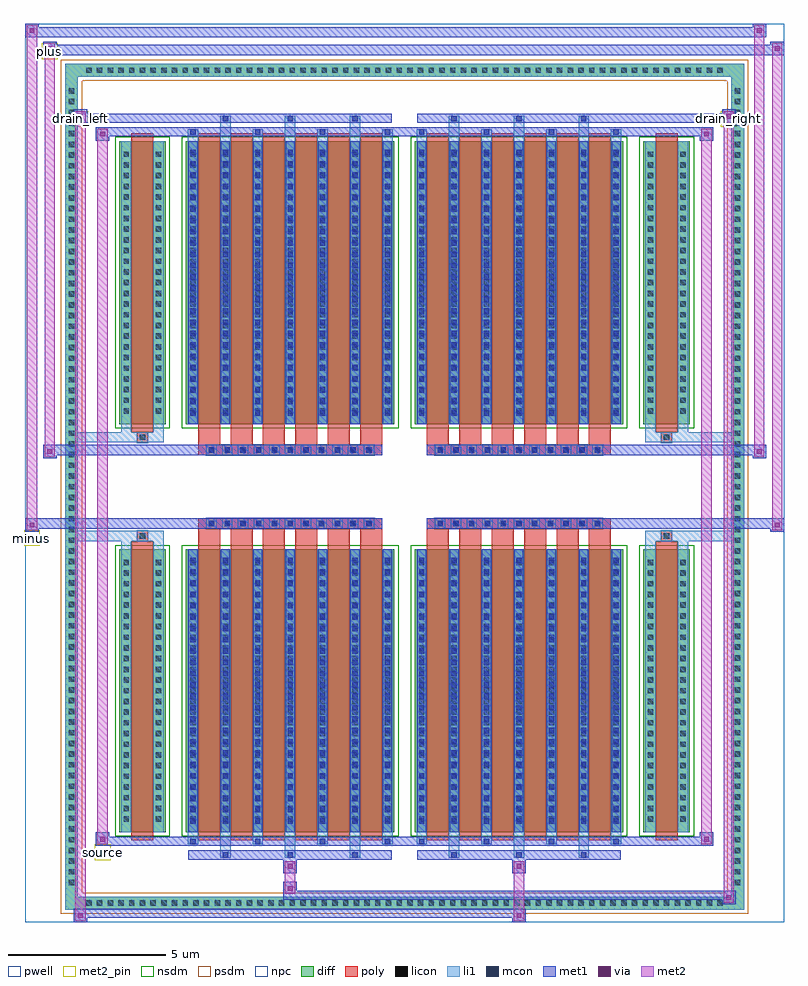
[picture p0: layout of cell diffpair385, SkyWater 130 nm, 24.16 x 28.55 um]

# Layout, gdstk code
import gdstk
lib = gdstk.Library(unit=1e-6, precision=5e-09)
def R(c, l, rs):  # rectangles x0, y0, x1, y1
    for r in rs: c.add(gdstk.rectangle(r[:2], r[2:], *l))
def A(c, l, x, y, w, h, nx, ny, dx, dy):  # array of equal rectangles
    R(c, l, [(x+i*dx, y+j*dy, x+i*dx+w, y+j*dy+h) for i in range(nx) for j in range(ny)])
def P(c, l, *ps):  # polygons
    for p in ps: c.add(gdstk.Polygon(p, *l))
pwell = (64, 44)
diff = (65, 20)
poly = (66, 20)
licon = (66, 44)
li1 = (67, 20)
mcon = (67, 44)
met1 = (68, 20)
via = (68, 44)
met2_pin = (69, 16)
met2 = (69, 20)
nsdm = (93, 44)
psdm = (94, 20)
npc = (95, 20)

diffpair385 = lib.new_cell('diffpair385')
R(diffpair385, pwell, [(-12.06,-13.84,12.06,14.71), (-9.38,-12.03,-0.01,-0.805), (0.01,-12.03,9.38,-0.805), (-9.38,0.805,-0.01,12.03), (0.01,0.805,9.38,12.03)])
A(diffpair385, diff, -10.235, -13.44, 0.41, 0.41, 60, 2, 0.34, 26.47)
A(diffpair385, diff, -10.79, -12.785, 0.41, 0.41, 1, 75, 0, 0.34)
A(diffpair385, diff, 10.38, -12.785, 0.41, 0.41, 1, 75, 0, 0.34)
R(diffpair385, diff, [(-10.235,-13.44,10.235,-13.03), (-10.79,-12.785,-10.38,12.785), (10.38,-12.785,10.79,12.785), (-9.07,-10.985,-7.59,-1.985), (-6.95,-10.985,-0.32,-1.985), (0.32,-10.985,6.95,-1.985), (7.59,-10.985,9.07,-1.985), (-9.07,1.985,-7.59,10.985), (-6.95,1.985,-0.32,10.985), (0.32,1.985,6.95,10.985), (7.59,1.985,9.07,10.985), (-10.235,13.03,10.235,13.44)])
P(diffpair385, diff, [(10.79,13.44),(-10.79,13.44),(-10.79,-13.03),(-10.38,-13.03),(-10.38,13.03),(10.38,13.03),(10.38,-13.03),(-10.38,-13.03),(-10.79,-13.03),(-10.79,-13.44),(10.79,-13.44)])
A(diffpair385, poly, -6.56, -11.235, 0.7, 9.5, 6, 2, 1.03, 12.97)
A(diffpair385, poly, 0.71, -11.235, 0.7, 9.5, 6, 2, 1.03, 12.97)
A(diffpair385, poly, -6.56, -1.735, 0.7, 0.4, 6, 2, 1.03, 3.07)
A(diffpair385, poly, 0.71, -1.735, 0.7, 0.4, 6, 2, 1.03, 3.07)
A(diffpair385, poly, -6.3, -1.335, 0.33, 0.33, 11, 2, 0.5, 2.34)
A(diffpair385, poly, 0.97, -1.335, 0.33, 0.33, 11, 2, 0.5, 2.34)
R(diffpair385, poly, [(-8.68,-11.235,-7.98,-1.735), (7.98,-11.235,8.68,-1.735), (-8.495,-1.735,-8.165,-1.405), (-8.495,-1.735,-8.165,-1.405), (8.165,-1.735,8.495,-1.405), (8.165,-1.735,8.495,-1.405), (-6.56,-1.335,-0.71,-1.005), (0.71,-1.335,6.56,-1.005), (-6.56,1.005,-0.71,1.335), (0.71,1.005,6.56,1.335), (-8.495,1.405,-8.165,1.735), (-8.495,1.405,-8.165,1.735), (8.165,1.405,8.495,1.735), (8.165,1.405,8.495,1.735), (-8.68,1.735,-7.98,11.235), (7.98,1.735,8.68,11.235)])
A(diffpair385, licon, -10.115, -13.32, 0.17, 0.17, 60, 2, 0.34, 26.47)
A(diffpair385, licon, -10.67, -12.665, 0.17, 0.17, 1, 75, 0, 0.34)
A(diffpair385, licon, 10.5, -12.665, 0.17, 0.17, 1, 75, 0, 0.34)
A(diffpair385, licon, -8.93, -10.65, 0.17, 0.17, 1, 25, 0, 0.34)
A(diffpair385, licon, -7.9, -10.65, 0.17, 0.17, 1, 25, 0, 0.34)
A(diffpair385, licon, -6.81, -10.65, 0.17, 0.17, 7, 25, 1.03, 0.34)
A(diffpair385, licon, 0.46, -10.65, 0.17, 0.17, 7, 25, 1.03, 0.34)
A(diffpair385, licon, 7.73, -10.65, 0.17, 0.17, 1, 25, 0, 0.34)
A(diffpair385, licon, 8.76, -10.65, 0.17, 0.17, 1, 25, 0, 0.34)
A(diffpair385, licon, -6.22, -1.255, 0.17, 0.17, 11, 2, 0.5, 2.34)
A(diffpair385, licon, 1.05, -1.255, 0.17, 0.17, 11, 2, 0.5, 2.34)
A(diffpair385, licon, -8.93, 2.32, 0.17, 0.17, 1, 25, 0, 0.34)
A(diffpair385, licon, -7.9, 2.32, 0.17, 0.17, 1, 25, 0, 0.34)
A(diffpair385, licon, -6.81, 2.32, 0.17, 0.17, 7, 25, 1.03, 0.34)
A(diffpair385, licon, 0.46, 2.32, 0.17, 0.17, 7, 25, 1.03, 0.34)
A(diffpair385, licon, 7.73, 2.32, 0.17, 0.17, 1, 25, 0, 0.34)
A(diffpair385, licon, 8.76, 2.32, 0.17, 0.17, 1, 25, 0, 0.34)
R(diffpair385, licon, [(-8.415,-1.655,-8.245,-1.485), (8.245,-1.655,8.415,-1.485), (-8.415,1.485,-8.245,1.655), (8.245,1.485,8.415,1.655)])
A(diffpair385, li1, -10.195, -13.4, 0.33, 0.33, 60, 2, 0.34, 26.47)
A(diffpair385, li1, -10.75, -12.745, 0.33, 0.33, 1, 75, 0, 0.34)
A(diffpair385, li1, 10.42, -12.745, 0.33, 0.33, 1, 75, 0, 0.34)
A(diffpair385, li1, -5.86, -11.79, 0.33, 0.805, 3, 2, 2.06, 22.775)
A(diffpair385, li1, -5.78, -11.79, 0.17, 0.17, 3, 2, 2.06, 23.41)
A(diffpair385, li1, 1.41, -11.79, 0.33, 0.805, 3, 2, 2.06, 22.775)
A(diffpair385, li1, 1.49, -11.79, 0.17, 0.17, 3, 2, 2.06, 23.41)
A(diffpair385, li1, -6.89, -11.36, 0.33, 0.375, 4, 2, 2.06, 22.345)
A(diffpair385, li1, -6.81, -11.36, 0.17, 0.17, 4, 2, 2.06, 22.55)
A(diffpair385, li1, 0.38, -11.36, 0.33, 0.375, 4, 2, 2.06, 22.345)
A(diffpair385, li1, 0.46, -11.36, 0.17, 0.17, 4, 2, 2.06, 22.55)
A(diffpair385, li1, -6.89, -10.985, 0.33, 9, 7, 2, 1.03, 12.97)
A(diffpair385, li1, 0.38, -10.985, 0.33, 9, 7, 2, 1.03, 12.97)
A(diffpair385, li1, -9.01, -10.73, 0.33, 0.33, 1, 25, 0, 0.34)
A(diffpair385, li1, -7.98, -10.73, 0.33, 0.33, 1, 25, 0, 0.34)
A(diffpair385, li1, -6.89, -10.73, 0.33, 0.33, 7, 25, 1.03, 0.34)
A(diffpair385, li1, 0.38, -10.73, 0.33, 0.33, 7, 25, 1.03, 0.34)
A(diffpair385, li1, 7.65, -10.73, 0.33, 0.33, 1, 25, 0, 0.34)
A(diffpair385, li1, 8.68, -10.73, 0.33, 0.33, 1, 25, 0, 0.34)
A(diffpair385, li1, -6.81, -10.71, 0.17, 0.17, 7, 24, 1.03, 0.36)
A(diffpair385, li1, -6.81, -10.71, 0.17, 8.45, 7, 2, 1.03, 12.97)
A(diffpair385, li1, 0.46, -10.71, 0.17, 0.17, 7, 24, 1.03, 0.36)
A(diffpair385, li1, 0.46, -10.71, 0.17, 8.45, 7, 2, 1.03, 12.97)
A(diffpair385, li1, -6.3, -1.335, 0.33, 0.33, 11, 2, 0.5, 2.34)
A(diffpair385, li1, 0.97, -1.335, 0.33, 0.33, 11, 2, 0.5, 2.34)
A(diffpair385, li1, -9.01, 2.24, 0.33, 0.33, 1, 25, 0, 0.34)
A(diffpair385, li1, -7.98, 2.24, 0.33, 0.33, 1, 25, 0, 0.34)
A(diffpair385, li1, -6.89, 2.24, 0.33, 0.33, 7, 25, 1.03, 0.34)
A(diffpair385, li1, 0.38, 2.24, 0.33, 0.33, 7, 25, 1.03, 0.34)
A(diffpair385, li1, 7.65, 2.24, 0.33, 0.33, 1, 25, 0, 0.34)
A(diffpair385, li1, 8.68, 2.24, 0.33, 0.33, 1, 25, 0, 0.34)
A(diffpair385, li1, -6.81, 2.26, 0.17, 0.17, 7, 24, 1.03, 0.36)
A(diffpair385, li1, 0.46, 2.26, 0.17, 0.17, 7, 24, 1.03, 0.36)
R(diffpair385, li1, [(-10.79,-13.44,-10.38,-13.03), (-10.79,-13.44,-10.38,-13.03), (-10.38,-13.44,10.38,-13.03), (10.38,-13.44,10.79,-13.03), (10.38,-13.44,10.79,-13.03), (-10.79,-13.03,-10.38,13.03), (10.38,-13.03,10.79,13.03), (-9.01,-10.985,-8.68,-1.985), (-7.98,-10.985,-7.65,-1.985), (7.65,-10.985,7.98,-1.985), (8.68,-10.985,9.01,-1.985), (-9.01,-1.985,-8.68,-1.405), (-7.98,-1.985,-7.65,-1.405), (7.65,-1.985,7.98,-1.405), (8.68,-1.985,9.01,-1.405), (-10.79,-1.735,-8.495,-1.405), (-9.01,-1.735,-8.495,-1.405), (-8.495,-1.735,-8.165,-1.405), (-8.165,-1.735,-7.65,-1.405), (7.65,-1.735,8.165,-1.405), (8.165,-1.735,8.495,-1.405), (8.165,-1.735,10.79,-1.405), (8.495,-1.735,9.01,-1.405), (-10.79,1.405,-8.495,1.735), (-9.01,1.405,-8.495,1.735), (-9.01,1.405,-8.68,1.985), (-8.495,1.405,-8.165,1.735), (-8.165,1.405,-7.65,1.735), (-7.98,1.405,-7.65,1.985), (7.65,1.405,8.165,1.735), (7.65,1.405,7.98,1.985), (8.165,1.405,8.495,1.735), (8.165,1.405,10.79,1.735), (8.495,1.405,9.01,1.735), (8.68,1.405,9.01,1.985), (-9.01,1.985,-8.68,10.985), (-7.98,1.985,-7.65,10.985), (7.65,1.985,7.98,10.985), (8.68,1.985,9.01,10.985), (-10.79,13.03,-10.38,13.44), (-10.79,13.03,-10.38,13.44), (-10.38,13.03,10.38,13.44), (10.38,13.03,10.79,13.44), (10.38,13.03,10.79,13.44)])
A(diffpair385, mcon, -5.78, -11.79, 0.17, 0.17, 3, 2, 2.06, 23.41)
A(diffpair385, mcon, 1.49, -11.79, 0.17, 0.17, 3, 2, 2.06, 23.41)
A(diffpair385, mcon, -6.81, -11.36, 0.17, 0.17, 4, 2, 2.06, 22.55)
A(diffpair385, mcon, 0.46, -11.36, 0.17, 0.17, 4, 2, 2.06, 22.55)
A(diffpair385, mcon, -6.81, -10.71, 0.17, 0.17, 7, 24, 1.03, 0.36)
A(diffpair385, mcon, 0.46, -10.71, 0.17, 0.17, 7, 24, 1.03, 0.36)
A(diffpair385, mcon, -6.22, -1.255, 0.17, 0.17, 11, 2, 0.5, 2.34)
A(diffpair385, mcon, 1.05, -1.255, 0.17, 0.17, 11, 2, 0.5, 2.34)
A(diffpair385, mcon, -6.81, 2.26, 0.17, 0.17, 7, 24, 1.03, 0.36)
A(diffpair385, mcon, 0.46, 2.26, 0.17, 0.17, 7, 24, 1.03, 0.36)
A(diffpair385, met1, -5.84, -11.85, 0.29, 0.29, 3, 2, 2.06, 23.41)
A(diffpair385, met1, 1.43, -11.85, 0.29, 0.29, 3, 2, 2.06, 23.41)
A(diffpair385, met1, -6.87, -11.42, 0.29, 0.29, 4, 2, 2.06, 22.55)
A(diffpair385, met1, 0.4, -11.42, 0.29, 0.29, 4, 2, 2.06, 22.55)
A(diffpair385, met1, -6.87, -10.985, 0.29, 9, 7, 2, 1.03, 12.97)
A(diffpair385, met1, 0.4, -10.985, 0.29, 9, 7, 2, 1.03, 12.97)
A(diffpair385, met1, -6.87, -10.77, 0.29, 0.29, 7, 24, 1.03, 0.36)
A(diffpair385, met1, 0.4, -10.77, 0.29, 0.29, 7, 24, 1.03, 0.36)
A(diffpair385, met1, -6.28, -1.315, 0.29, 0.29, 11, 2, 0.5, 2.34)
A(diffpair385, met1, 0.99, -1.315, 0.29, 0.29, 11, 2, 0.5, 2.34)
A(diffpair385, met1, -6.87, 2.2, 0.29, 0.29, 7, 24, 1.03, 0.36)
A(diffpair385, met1, 0.4, 2.2, 0.29, 0.29, 7, 24, 1.03, 0.36)
R(diffpair385, met1, [(-10.52,-13.84,-10.09,-13.41), (3.42,-13.84,3.85,-13.41), (-10.52,-13.7,3.85,-13.41), (10.09,-13.27,10.52,-12.84), (-3.85,-13.13,10.52,-12.84), (-3.85,-12.99,-3.42,-12.56), (-3.85,-12.28,-3.42,-11.85), (3.42,-12.28,3.85,-11.85), (-6.87,-11.85,-0.4,-11.56), (0.4,-11.85,6.87,-11.56), (-9.81,-11.42,-9.38,-10.99), (-9.81,-11.42,-6.87,-11.13), (-6.87,-11.42,-0.4,-11.13), (-0.4,-11.42,0.4,-11.13), (0.4,-11.42,6.87,-11.13), (6.87,-11.42,9.81,-11.13), (9.38,-11.42,9.81,-10.99), (-12.06,-1.435,-11.63,-1.005), (11.63,-1.435,12.06,-1.005), (-12.06,-1.335,-0.71,-1.005), (-6.56,-1.335,-0.71,-1.005), (0.71,-1.335,6.56,-1.005), (0.71,-1.335,12.06,-1.005), (-11.49,0.905,-11.06,1.335), (11.06,0.905,11.49,1.335), (-11.49,1.005,-6.56,1.335), (-6.56,1.005,-0.71,1.335), (0.71,1.005,6.56,1.335), (6.56,1.005,11.49,1.335), (-9.81,10.99,-9.38,11.42), (9.38,10.99,9.81,11.42), (-9.81,11.13,-6.87,11.42), (-6.87,11.13,-0.4,11.42), (-0.4,11.13,0.4,11.42), (0.4,11.13,6.87,11.42), (6.87,11.13,9.81,11.42), (-10.52,11.56,-10.09,11.99), (-10.52,11.56,-6.87,11.85), (-6.87,11.56,-0.4,11.85), (0.4,11.56,6.87,11.85), (6.87,11.56,10.52,11.85), (10.09,11.56,10.52,11.99), (-11.49,13.71,-11.06,14.14), (-11.49,13.71,-9.38,14.04), (-9.38,13.71,9.38,14.04), (9.38,13.71,12.06,14.04), (11.63,13.71,12.06,14.14), (-12.06,14.28,-11.63,14.71), (-12.06,14.28,-9.38,14.61), (-9.38,14.28,9.38,14.61), (9.38,14.28,11.49,14.61), (11.06,14.28,11.49,14.71)])
R(diffpair385, via, [(-10.38,-13.7,-10.23,-13.55), (3.56,-13.7,3.71,-13.55), (10.23,-13.13,10.38,-12.98), (-3.71,-12.85,-3.56,-12.7), (-3.71,-12.14,-3.56,-11.99), (3.56,-12.14,3.71,-11.99), (-9.67,-11.28,-9.52,-11.13), (9.52,-11.28,9.67,-11.13), (-11.92,-1.295,-11.77,-1.145), (11.77,-1.295,11.92,-1.145), (-11.35,1.045,-11.2,1.195), (11.2,1.045,11.35,1.195), (-9.67,11.13,-9.52,11.28), (9.52,11.13,9.67,11.28), (-10.38,11.7,-10.23,11.85), (10.23,11.7,10.38,11.85), (-11.35,13.85,-11.2,14), (11.77,13.85,11.92,14), (-11.92,14.42,-11.77,14.57), (11.2,14.42,11.35,14.57)])
R(diffpair385, met2_pin, [(-9.845,-11.87,-9.345,-11.37), (-12.095,-1.885,-11.595,-1.385), (-10.555,11.44,-10.055,11.94), (10.055,11.44,10.555,11.94), (-11.525,13.59,-11.025,14.09)])
R(diffpair385, met2, [(-10.47,-13.79,-10.14,-13.46), (-10.47,-13.79,-10.14,11.94), (3.47,-13.79,3.8,-13.46), (3.47,-13.46,3.8,-12.23), (10.14,-13.22,10.47,-12.89), (10.14,-13.22,10.47,11.94), (-3.8,-12.94,-3.47,-12.61), (-3.8,-12.61,-3.47,-12.23), (-3.8,-12.23,-3.47,-11.9), (3.47,-12.23,3.8,-11.9), (-9.76,-11.37,-9.43,-11.04), (-9.76,-11.37,-9.43,11.37), (9.43,-11.37,9.76,-11.04), (9.43,-11.37,9.76,11.37), (-12.01,-1.385,-11.68,-1.055), (-12.01,-1.385,-11.68,14.66), (11.68,-1.385,12.01,-1.055), (11.68,-1.385,12.01,14.09), (-11.44,0.955,-11.11,1.285), (-11.44,0.955,-11.11,14.09), (11.11,0.955,11.44,1.285), (11.11,0.955,11.44,14.66), (-9.76,11.04,-9.43,11.37), (9.43,11.04,9.76,11.37), (-10.47,11.61,-10.14,11.94), (10.14,11.61,10.47,11.94), (-11.44,13.76,-11.11,14.09), (11.68,13.76,12.01,14.09), (-12.01,14.33,-11.68,14.66), (11.11,14.33,11.44,14.66)])
P(diffpair385, met2, [(12.01,-1.385),(12.01,-1.385),(12.01,-1.055),(12.01,-1.055)],
  [(12.01,13.76),(12.01,13.76),(12.01,14.09),(12.01,14.09)],
  [(-11.68,-1.385),(-11.68,-1.385),(-11.68,-1.055),(-11.68,-1.055)],
  [(-11.68,14.33),(-11.68,14.33),(-11.68,14.66),(-11.68,14.66)],
  [(11.44,0.955),(11.44,0.955),(11.44,1.285),(11.44,1.285)],
  [(11.44,14.33),(11.44,14.33),(11.44,14.66),(11.44,14.66)],
  [(-11.11,0.955),(-11.11,0.955),(-11.11,1.285),(-11.11,1.285)],
  [(-11.11,13.76),(-11.11,13.76),(-11.11,14.09),(-11.11,14.09)],
  [(-10.14,-13.79),(-10.14,-13.79),(-10.14,-13.46),(-10.14,-13.46)],
  [(-10.14,11.61),(-10.14,11.61),(-10.14,11.94),(-10.14,11.94)],
  [(10.47,-13.22),(10.47,-13.22),(10.47,-12.89),(10.47,-12.89)],
  [(10.47,11.61),(10.47,11.61),(10.47,11.94),(10.47,11.94)],
  [(-9.43,-11.37),(-9.43,-11.37),(-9.43,-11.04),(-9.43,-11.04)],
  [(-9.43,11.04),(-9.43,11.04),(-9.43,11.37),(-9.43,11.37)],
  [(9.76,-11.37),(9.76,-11.37),(9.76,-11.04),(9.76,-11.04)],
  [(9.76,11.04),(9.76,11.04),(9.76,11.37),(9.76,11.37)])
R(diffpair385, nsdm, [(-9.2,-11.115,-7.46,-1.855), (-7.08,-11.115,-0.19,-1.855), (0.19,-11.115,7.08,-1.855), (7.46,-11.115,9.2,-1.855), (-9.2,1.855,-7.46,11.115), (-7.08,1.855,-0.19,11.115), (0.19,1.855,7.08,11.115), (7.46,1.855,9.2,11.115)])
P(diffpair385, psdm, [(10.92,13.57),(-10.92,13.57),(-10.92,-12.9),(-10.25,-12.9),(-10.25,12.9),(10.25,12.9),(10.25,-12.9),(-10.25,-12.9),(-10.92,-12.9),(-10.92,-13.57),(10.92,-13.57)])
A(diffpair385, npc, -6.32, -1.355, 0.37, 0.37, 11, 2, 0.5, 2.34)
A(diffpair385, npc, 0.95, -1.355, 0.37, 0.37, 11, 2, 0.5, 2.34)
R(diffpair385, npc, [(-8.515,-1.755,-8.145,-1.385), (8.145,-1.755,8.515,-1.385), (-6.32,-1.355,-5.45,-0.985), (-6.32,-1.355,-5.45,-0.985), (-5.82,-1.355,-4.95,-0.985), (-5.82,-1.355,-4.95,-0.985), (-5.32,-1.355,-4.45,-0.985), (-5.32,-1.355,-4.45,-0.985), (-4.82,-1.355,-3.95,-0.985), (-4.82,-1.355,-3.95,-0.985), (-4.32,-1.355,-3.45,-0.985), (-4.32,-1.355,-3.45,-0.985), (-3.82,-1.355,-2.95,-0.985), (-3.82,-1.355,-2.95,-0.985), (-3.32,-1.355,-2.45,-0.985), (-3.32,-1.355,-2.45,-0.985), (-2.82,-1.355,-1.95,-0.985), (-2.82,-1.355,-1.95,-0.985), (-2.32,-1.355,-1.45,-0.985), (-2.32,-1.355,-1.45,-0.985), (-1.82,-1.355,-0.95,-0.985), (-1.82,-1.355,-0.95,-0.985), (0.95,-1.355,1.82,-0.985), (0.95,-1.355,1.82,-0.985), (1.45,-1.355,2.32,-0.985), (1.45,-1.355,2.32,-0.985), (1.95,-1.355,2.82,-0.985), (1.95,-1.355,2.82,-0.985), (2.45,-1.355,3.32,-0.985), (2.45,-1.355,3.32,-0.985), (2.95,-1.355,3.82,-0.985), (2.95,-1.355,3.82,-0.985), (3.45,-1.355,4.32,-0.985), (3.45,-1.355,4.32,-0.985), (3.95,-1.355,4.82,-0.985), (3.95,-1.355,4.82,-0.985), (4.45,-1.355,5.32,-0.985), (4.45,-1.355,5.32,-0.985), (4.95,-1.355,5.82,-0.985), (4.95,-1.355,5.82,-0.985), (5.45,-1.355,6.32,-0.985), (5.45,-1.355,6.32,-0.985), (-6.32,0.985,-5.45,1.355), (-6.32,0.985,-5.45,1.355), (-5.82,0.985,-4.95,1.355), (-5.82,0.985,-4.95,1.355), (-5.32,0.985,-4.45,1.355), (-5.32,0.985,-4.45,1.355), (-4.82,0.985,-3.95,1.355), (-4.82,0.985,-3.95,1.355), (-4.32,0.985,-3.45,1.355), (-4.32,0.985,-3.45,1.355), (-3.82,0.985,-2.95,1.355), (-3.82,0.985,-2.95,1.355), (-3.32,0.985,-2.45,1.355), (-3.32,0.985,-2.45,1.355), (-2.82,0.985,-1.95,1.355), (-2.82,0.985,-1.95,1.355), (-2.32,0.985,-1.45,1.355), (-2.32,0.985,-1.45,1.355), (-1.82,0.985,-0.95,1.355), (-1.82,0.985,-0.95,1.355), (0.95,0.985,1.82,1.355), (0.95,0.985,1.82,1.355), (1.45,0.985,2.32,1.355), (1.45,0.985,2.32,1.355), (1.95,0.985,2.82,1.355), (1.95,0.985,2.82,1.355), (2.45,0.985,3.32,1.355), (2.45,0.985,3.32,1.355), (2.95,0.985,3.82,1.355), (2.95,0.985,3.82,1.355), (3.45,0.985,4.32,1.355), (3.45,0.985,4.32,1.355), (3.95,0.985,4.82,1.355), (3.95,0.985,4.82,1.355), (4.45,0.985,5.32,1.355), (4.45,0.985,5.32,1.355), (4.95,0.985,5.82,1.355), (4.95,0.985,5.82,1.355), (5.45,0.985,6.32,1.355), (5.45,0.985,6.32,1.355), (-8.515,1.385,-8.145,1.755), (8.145,1.385,8.515,1.755)])
diffpair385.add(gdstk.Label('minus', (-11.845,-1.635), layer=69, texttype=5))
diffpair385.add(gdstk.Label('drain_right', (10.305,11.69), layer=69, texttype=5))
diffpair385.add(gdstk.Label('drain_left', (-10.305,11.69), layer=69, texttype=5))
diffpair385.add(gdstk.Label('source', (-9.595,-11.62), layer=69, texttype=5))
diffpair385.add(gdstk.Label('plus', (-11.275,13.84), layer=69, texttype=5))

lib.write_gds('diffpair385.gds')
